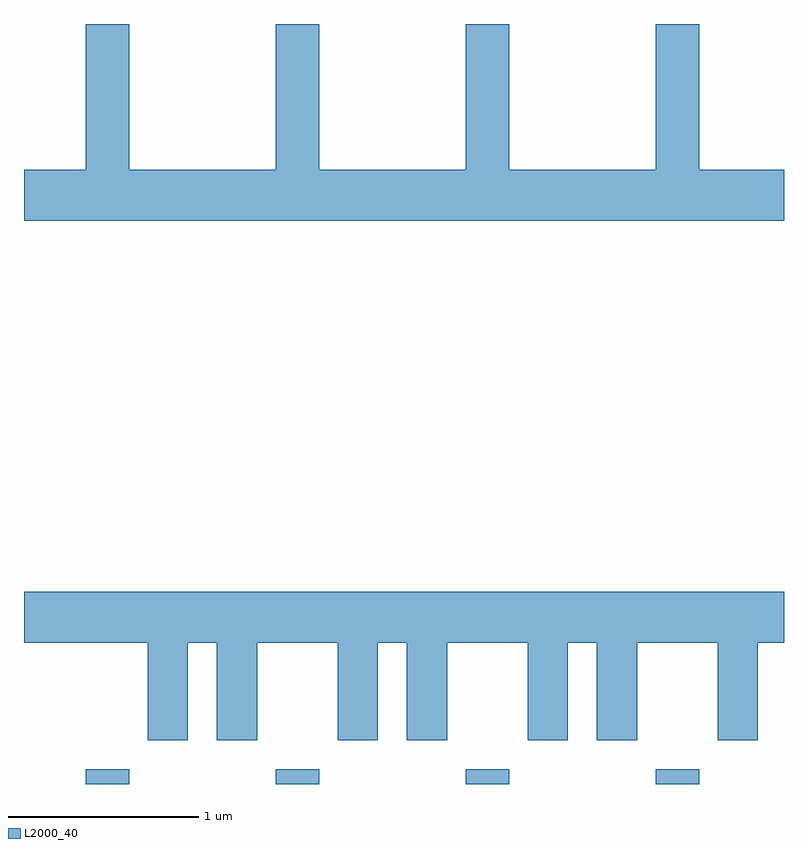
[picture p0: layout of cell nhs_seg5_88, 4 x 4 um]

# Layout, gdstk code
import gdstk
lib = gdstk.Library(unit=1e-6, precision=1e-09)
def R(c, l, rs):  # rectangles x0, y0, x1, y1
    for r in rs: c.add(gdstk.rectangle(r[:2], r[2:], *l))
def A(c, l, x, y, w, h, nx, ny, dx, dy):  # array of equal rectangles
    R(c, l, [(x+i*dx, y+j*dy, x+i*dx+w, y+j*dy+h) for i in range(nx) for j in range(ny)])
def P(c, l, *ps):  # polygons
    for p in ps: c.add(gdstk.Polygon(p, *l))
L2000_40 = (2000, 40)

nhs_seg5_88 = lib.new_cell('nhs_seg5_88')
A(nhs_seg5_88, L2000_40, 187.936, 1436.072, 0.228, 0.077, 4, 1, 1, 0)
P(nhs_seg5_88, L2000_40, [(191.611,1439.304),(191.164,1439.304),(191.164,1440.072),(190.936,1440.072),(190.936,1439.304),(190.164,1439.304),(190.164,1440.072),(189.936,1440.072),(189.936,1439.304),(189.164,1439.304),(189.164,1440.072),(188.936,1440.072),(188.936,1439.304),(188.164,1439.304),(188.164,1440.072),(187.936,1440.072),(187.936,1439.304),(187.611,1439.304),(187.611,1439.036),(191.611,1439.036)],
  [(188.474,1436.816),(188.626,1436.816),(188.626,1436.301),(188.839,1436.301),(188.839,1436.816),(189.261,1436.816),(189.261,1436.301),(189.474,1436.301),(189.474,1436.816),(189.626,1436.816),(189.626,1436.301),(189.839,1436.301),(189.839,1436.816),(190.261,1436.816),(190.261,1436.301),(190.474,1436.301),(190.474,1436.816),(190.626,1436.816),(190.626,1436.301),(190.839,1436.301),(190.839,1436.816),(191.261,1436.816),(191.261,1436.301),(191.474,1436.301),(191.474,1436.816),(191.611,1436.816),(191.611,1437.084),(187.611,1437.084),(187.611,1436.816),(188.261,1436.816),(188.261,1436.301),(188.474,1436.301)])

lib.write_gds('nhs_seg5_88.gds')
